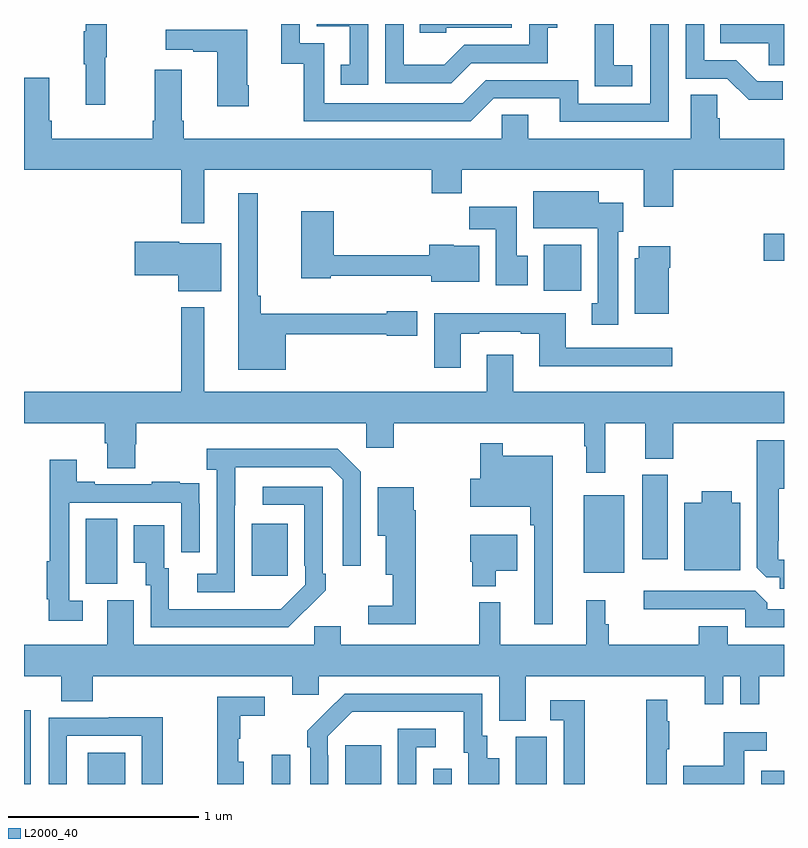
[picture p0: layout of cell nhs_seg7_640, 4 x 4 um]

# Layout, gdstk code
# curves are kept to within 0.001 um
import gdstk
lib = gdstk.Library(unit=1e-6, precision=1e-09)
def R(c, l, rs):  # rectangles x0, y0, x1, y1
    for r in rs: c.add(gdstk.rectangle(r[:2], r[2:], *l))
def P(c, l, *ps):  # polygons
    for p in ps: c.add(gdstk.Polygon(p, *l))
L2000_40 = (2000, 40)

nhs_seg7_640 = lib.new_cell('nhs_seg7_640')
R(nhs_seg7_640, L2000_40, [(159,1048,159.036,1048.387), (159.335,1048,159.532,1048.165), (160.305,1048,160.401,1048.153), (160.691,1048,160.879,1048.204), (161.154,1048,161.25,1048.081), (161.588,1048,161.752,1048.248), (162.881,1048,163,1048.069), (159.326,1049.053,159.49,1049.396), (160.199,1049.097,160.387,1049.371), (161.945,1049.111,162.16,1049.521), (162.254,1049.184,162.388,1049.628), (161.735,1050.596,161.932,1050.838), (162.894,1050.755,163,1050.897)])
P(nhs_seg7_640, L2000_40, [(161.353,1051.794),(161.757,1051.794),(161.757,1051.979),(161.806,1051.979),(161.806,1052),(161.658,1052),(161.658,1051.89),(161.316,1051.89),(161.212,1051.786),(160.998,1051.786),(160.998,1052),(160.902,1052),(160.902,1051.689),(161.248,1051.689)],
  [(159.428,1051.824),(159.436,1051.824),(159.436,1052),(159.326,1052),(159.326,1051.961),(159.315,1051.961),(159.315,1051.787),(159.326,1051.787),(159.326,1051.575),(159.428,1051.575)],
  [(160.812,1052),(160.542,1052),(160.542,1051.989),(160.715,1051.989),(160.715,1051.785),(160.666,1051.785),(160.666,1051.68),(160.812,1051.68)],
  [(162.994,1051.698),(162.859,1051.698),(162.748,1051.809),(162.579,1051.809),(162.579,1052),(162.483,1052),(162.483,1051.713),(162.702,1051.713),(162.815,1051.601),(162.994,1051.601)],
  [(162.393,1052),(162.297,1052),(162.297,1051.581),(161.916,1051.581),(161.916,1051.704),(161.43,1051.704),(161.31,1051.584),(160.581,1051.584),(160.581,1051.899),(160.452,1051.899),(160.452,1052),(160.355,1052),(160.355,1051.791),(160.473,1051.791),(160.473,1051.488),(161.352,1051.488),(161.472,1051.608),(161.819,1051.608),(161.819,1051.485),(162.393,1051.485)],
  [(161.223,1051.98),(161.568,1051.98),(161.568,1052),(161.083,1052),(161.083,1051.953),(161.223,1051.953)],
  [(162.202,1051.783),(162.104,1051.783),(162.104,1052),(162.005,1052),(162.005,1051.879),(162.004,1051.879),(162.004,1051.673),(162.202,1051.673)],
  [(163,1052),(162.664,1052),(162.664,1051.898),(162.921,1051.898),(162.921,1051.783),(163,1051.783)],
  [(160.182,1051.678),(160.174,1051.678),(160.174,1051.969),(159.747,1051.969),(159.747,1051.865),(159.89,1051.865),(159.89,1051.855),(160.016,1051.855),(160.016,1051.566),(160.182,1051.566)],
  [(159.949,1051.232),(161.147,1051.232),(161.147,1051.108),(161.303,1051.108),(161.303,1051.232),(162.263,1051.232),(162.263,1051.038),(162.416,1051.038),(162.416,1051.232),(163,1051.232),(163,1051.396),(162.662,1051.396),(162.662,1051.505),(162.648,1051.505),(162.648,1051.628),(162.509,1051.628),(162.509,1051.396),(161.653,1051.396),(161.653,1051.523),(161.514,1051.523),(161.514,1051.396),(159.842,1051.396),(159.842,1051.492),(159.829,1051.492),(159.829,1051.759),(159.689,1051.759),(159.689,1051.492),(159.677,1051.492),(159.677,1051.396),(159.146,1051.396),(159.146,1051.492),(159.133,1051.492),(159.133,1051.717),(159,1051.717),(159,1051.232),(159.828,1051.232),(159.828,1050.951),(159.949,1050.951)],
  [(162.127,1050.906),(162.154,1050.906),(162.154,1051.06),(162.025,1051.06),(162.025,1051.12),(161.681,1051.12),(161.681,1050.926),(162.02,1050.926),(162.02,1050.53),(161.987,1050.53),(161.987,1050.417),(162.127,1050.417)],
  [(160.378,1050.366),(160.908,1050.366),(160.908,1050.358),(161.071,1050.358),(161.071,1050.487),(160.908,1050.487),(160.908,1050.476),(160.246,1050.476),(160.246,1050.571),(160.231,1050.571),(160.231,1051.108),(160.127,1051.108),(160.127,1050.179),(160.378,1050.179)],
  [(161.65,1050.78),(161.593,1050.78),(161.593,1051.038),(161.344,1051.038),(161.344,1050.92),(161.483,1050.92),(161.483,1050.624),(161.65,1050.624)],
  [(161.395,1050.832),(161.262,1050.832),(161.262,1050.838),(161.132,1050.838),(161.132,1050.784),(160.631,1050.784),(160.631,1051.015),(160.46,1051.015),(160.46,1050.662),(160.614,1050.662),(160.614,1050.674),(161.144,1050.674),(161.144,1050.644),(161.395,1050.644)],
  [(160.039,1050.847),(159.816,1050.847),(159.816,1050.855),(159.582,1050.855),(159.582,1050.677),(159.812,1050.677),(159.812,1050.593),(160.039,1050.593)],
  [(162.394,1050.716),(162.402,1050.716),(162.402,1050.829),(162.236,1050.829),(162.236,1050.768),(162.215,1050.768),(162.215,1050.476),(162.394,1050.476)],
  [(162.059,1049.9),(162.269,1049.9),(162.269,1049.713),(162.417,1049.713),(162.417,1049.9),(163,1049.9),(163,1050.064),(161.575,1050.064),(161.575,1050.259),(161.435,1050.259),(161.435,1050.064),(159.949,1050.064),(159.949,1050.508),(159.828,1050.508),(159.828,1050.064),(159,1050.064),(159,1049.9),(159.425,1049.9),(159.425,1049.794),(159.437,1049.794),(159.437,1049.662),(159.585,1049.662),(159.585,1049.787),(159.59,1049.787),(159.59,1049.9),(160.8,1049.9),(160.8,1049.769),(160.947,1049.769),(160.947,1049.9),(161.949,1049.9),(161.949,1049.777),(161.96,1049.777),(161.96,1049.637),(162.059,1049.637)],
  [(161.299,1050.369),(161.395,1050.369),(161.395,1050.381),(161.615,1050.381),(161.615,1050.369),(161.711,1050.369),(161.711,1050.2),(162.412,1050.2),(162.412,1050.297),(161.851,1050.297),(161.851,1050.478),(161.159,1050.478),(161.159,1050.192),(161.299,1050.192)],
  [(163,1049.181),(162.969,1049.181),(162.969,1049.281),(162.973,1049.281),(162.973,1049.555),(163,1049.555),(163,1049.809),(162.857,1049.809),(162.857,1049.137),(162.906,1049.088),(162.977,1049.088),(162.977,1049.027),(163,1049.027)],
  [(161.782,1049.728),(161.521,1049.728),(161.521,1049.794),(161.4,1049.794),(161.4,1049.607),(161.348,1049.607),(161.348,1049.459),(161.665,1049.459),(161.665,1049.363),(161.685,1049.363),(161.685,1048.842),(161.782,1048.842)],
  [(160.11,1049.467),(160.111,1049.667),(160.611,1049.667),(160.677,1049.601),(160.677,1049.148),(160.773,1049.148),(160.773,1049.643),(160.652,1049.764),(159.963,1049.764),(159.963,1049.654),(160.014,1049.654),(160.014,1049.106),(159.912,1049.106),(159.912,1049.01),(160.11,1049.01)],
  [(159.31,1048.965),(159.237,1048.965),(159.237,1049.481),(159.828,1049.481),(159.828,1049.22),(159.924,1049.22),(159.924,1049.474),(159.923,1049.474),(159.923,1049.583),(159.821,1049.583),(159.821,1049.59),(159.673,1049.59),(159.673,1049.577),(159.373,1049.577),(159.373,1049.59),(159.277,1049.59),(159.277,1049.707),(159.136,1049.707),(159.136,1049.172),(159.121,1049.172),(159.121,1048.972),(159.129,1048.972),(159.129,1048.86),(159.31,1048.86)],
  [(160.481,1048.915),(160.482,1048.914),(160.587,1049.019),(160.587,1049.107),(160.572,1049.107),(160.572,1049.565),(160.257,1049.565),(160.257,1049.469),(160.476,1049.469),(160.476,1049.149),(160.479,1049.149),(160.479,1049.049),(160.351,1048.921),(159.763,1048.92),(159.763,1049.136),(159.739,1049.136),(159.739,1049.362),(159.578,1049.362),(159.578,1049.165),(159.641,1049.165),(159.641,1049.046),(159.666,1049.046),(159.666,1048.824),(160.39,1048.824)],
  [(161.062,1049.442),(161.05,1049.442),(161.05,1049.563),(160.862,1049.563),(160.862,1049.306),(160.904,1049.306),(160.904,1049.102),(160.941,1049.102),(160.941,1048.939),(160.812,1048.939),(160.812,1048.842),(161.062,1048.842)],
  [(162.769,1049.479),(162.724,1049.479),(162.724,1049.542),(162.566,1049.542),(162.566,1049.479),(162.476,1049.479),(162.476,1049.126),(162.769,1049.126)],
  [(161.482,1049.123),(161.596,1049.123),(161.596,1049.311),(161.348,1049.311),(161.348,1049.169),(161.36,1049.169),(161.36,1049.042),(161.482,1049.042)],
  [(163,1048.92),(162.911,1048.92),(162.911,1048.954),(162.849,1049.016),(162.261,1049.016),(162.261,1048.92),(162.795,1048.92),(162.795,1048.824),(163,1048.824)],
  [(161.641,1048.568),(162.584,1048.568),(162.584,1048.419),(162.681,1048.419),(162.681,1048.568),(162.771,1048.568),(162.771,1048.419),(162.869,1048.419),(162.869,1048.568),(163,1048.568),(163,1048.732),(162.703,1048.732),(162.703,1048.831),(162.551,1048.831),(162.551,1048.732),(162.077,1048.732),(162.077,1048.841),(162.059,1048.841),(162.059,1048.966),(161.96,1048.966),(161.96,1048.732),(161.507,1048.732),(161.507,1048.957),(161.397,1048.957),(161.397,1048.732),(160.666,1048.732),(160.666,1048.83),(160.527,1048.83),(160.527,1048.732),(159.577,1048.732),(159.577,1048.968),(159.437,1048.968),(159.437,1048.732),(159,1048.732),(159,1048.568),(159.197,1048.568),(159.197,1048.435),(159.362,1048.435),(159.362,1048.568),(160.412,1048.568),(160.412,1048.47),(160.551,1048.47),(160.551,1048.568),(161.501,1048.568),(161.501,1048.333),(161.641,1048.333)],
  [(160.602,1048.151),(160.599,1048.151),(160.599,1048.251),(160.728,1048.38),(161.315,1048.38),(161.315,1048.164),(161.339,1048.164),(161.339,1048),(161.5,1048),(161.5,1048.135),(161.437,1048.135),(161.437,1048.254),(161.412,1048.254),(161.412,1048.476),(160.688,1048.476),(160.491,1048.281),(160.491,1048.193),(160.506,1048.193),(160.506,1048),(160.602,1048)],
  [(160.156,1048.117),(160.127,1048.117),(160.127,1048.239),(160.138,1048.239),(160.138,1048.36),(160.267,1048.36),(160.267,1048.458),(160.017,1048.458),(160.017,1048),(160.156,1048)],
  [(162.384,1048.183),(162.397,1048.183),(162.397,1048.331),(162.386,1048.331),(162.386,1048.444),(162.276,1048.444),(162.276,1048),(162.384,1048)],
  [(161.95,1048.441),(161.769,1048.441),(161.769,1048.335),(161.841,1048.335),(161.841,1048),(161.95,1048)],
  [(159.225,1048.254),(159.621,1048.254),(159.621,1048),(159.73,1048),(159.73,1048.352),(159.445,1048.352),(159.445,1048.35),(159.129,1048.35),(159.129,1048),(159.225,1048)],
  [(161.064,1048.194),(161.167,1048.194),(161.167,1048.29),(160.968,1048.29),(160.968,1048),(161.064,1048)],
  [(162.792,1048.176),(162.91,1048.176),(162.91,1048.273),(162.684,1048.273),(162.684,1048.095),(162.469,1048.095),(162.469,1048),(162.792,1048)])

lib.write_gds('nhs_seg7_640.gds')
